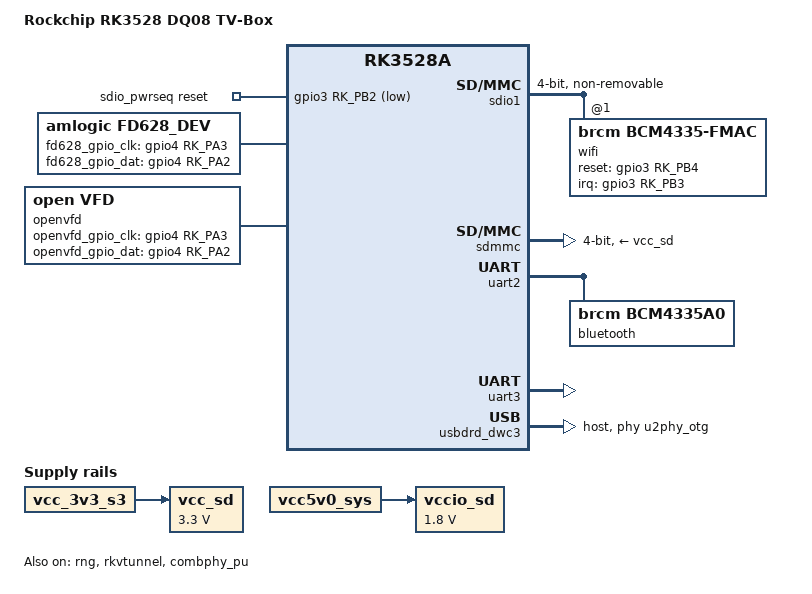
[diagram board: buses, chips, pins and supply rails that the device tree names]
// SPDX-License-Identifier: (GPL-2.0+ OR MIT)
/*
 */

/dts-v1/;

#include "rk3528-demo.dtsi"
#include "rk3528-linux.dtsi"

/ {
    model = "Rockchip RK3528 DQ08 TV-Box";
    compatible = "rockchip,rk3528-box", "rockchip,rk3528a";
    
    /delete-node/ bt-sco;
    /delete-node/ bt-sound;
    /delete-node/ gpio-leds;
    /delete-node/ spdif-sound;
    
    vcc_sd: vcc-sd {
        compatible = "regulator-fixed";
        regulator-always-on;
        regulator-name = "vcc_sd";
        regulator-min-microvolt = <3300000>;
        regulator-max-microvolt = <3300000>;
        vin-supply = <&vcc_3v3_s3>;
    };

    vccio_sd: vccio-sd {
        compatible = "regulator-gpio";
        regulator-always-on;
        regulator-name = "vccio_sd";
        regulator-min-microvolt = <1800000>;
        regulator-max-microvolt = <1800000>;
        vin-supply = <&vcc5v0_sys>;
    };

    sdio_pwrseq: sdio-pwrseq {
        compatible = "mmc-pwrseq-simple";
        pinctrl-names = "default";
        pinctrl-0 = <&wifi_enable  &clkm0_32k_out>;
        reset-gpios = <&gpio3 RK_PB4 GPIO_ACTIVE_LOW>;
    };

     // front led panel
    fd628_dev: fd628-dev {
        compatible = "amlogic, fd628_dev";
        fd628_gpio_clk = <&gpio4 RK_PA3 GPIO_ACTIVE_HIGH>;
        fd628_gpio_dat = <&gpio4 RK_PA2 GPIO_ACTIVE_HIGH>;
        status = "okay";
    };

   openvfd {
        status = "okay";
        compatible = "open,vfd";
        dev_name = "openvfd";
        openvfd_gpio_clk = <&gpio4 RK_PA3 GPIO_ACTIVE_HIGH>;
        openvfd_gpio_dat = <&gpio4 RK_PA2 GPIO_ACTIVE_HIGH>;
        openvfd_display_type = <0x03000100>;
        openvfd_dot_bits = [00 01 03 02 04 05 06];
   };

    sdio_pwrseq: sdio-pwrseq {
        compatible = "mmc-pwrseq-simple";
        pinctrl-names = "default";
        pinctrl-0 = <&wifi_wake &clkm0_32k_out>;
        reset-gpios = <&gpio3 RK_PB2 GPIO_ACTIVE_LOW>;
        post-power-on-delay-ms = <100>;
    };
};

&pinctrl {
    bcm4335 {
        wifi_enable: wifi-enable {
            rockchip,pins = <3 RK_PB2 RK_FUNC_GPIO &pcfg_output_high>;
        };

        wifi_wake: wifi-wake {
            rockchip,pins = <3 RK_PB3 RK_FUNC_GPIO &pcfg_pull_down>;
        };

        wifi_reset: wifi-reset {
            rockchip,pins = <3 RK_PB4 RK_FUNC_GPIO &pcfg_output_high>;
        };

        uart2m0_gpios: uart2m0-gpios {
            rockchip,pins = <3 RK_PA2 RK_FUNC_GPIO &pcfg_pull_none>;
        };
    };
};

&vdd_cpu {
    regulator-max-microvolt = <1101000>;
};

&cpu0_opp_table {
    // disable pvtm, i dont respect the device much...
    /delete-property/ rockchip,pvtm-voltage-sel;
};

&hdmi {
    pinctrl-1 = <&hdmi_pins>;
    pinctrl-names = "default", "sleep";
    cec-enable;
};

&sdhci {
    cap-mmc-highspeed;
    disable-wp;
    fifo-depth = <256>;
    max-frequency = <150000000>;
    mmc-hs200-1_8v;
};

&sdio1 {
    mmc-pwrseq = <&sdio_pwrseq>;
    pinctrl-0 = <&sdio1_bus4 &sdio1_cmd &sdio1_clk>;
    pinctrl-names = "default";
    status = "okay";
    bus-width = <4>;
    post-power-on-delay-ms = <100>;
    max-frequency = <208000000>;
    fifo-depth = <4096>;
    keep-power-in-suspend;
    cap-sd-highspeed;
    cap-sdio-irq;
    disable-wp;
    no-mmc;
    no-sd;
    non-removable;
    sd-uhs-ddr50;
    sd-uhs-sdr12;
    sd-uhs-sdr25;
    sd-uhs-sdr50;
    sd-uhs-sdr104;
    supports-sdio;
    #address-cells = <1>;
    #size-cells = <0>;
    
    wifi@1 {
        compatible = "brcm,bcm4335-fmac";
        reg = <1>;
        interrupt-parent = <&gpio3>;
        interrupts = <RK_PB3 IRQ_TYPE_LEVEL_HIGH>;
        interrupt-names = "host-wake";
        reset-gpios = <&gpio3 RK_PB4 GPIO_ACTIVE_HIGH>;
        pinctrl-0 = <&wifi_wake &wifi_reset>;
        status = "okay";
   };
};

&sdmmc {
    vmmc-supply = <&vcc_sd>;
    pinctrl-0 = <&sdmmc_clk &sdmmc_cmd &sdmmc_det &sdmmc_bus4>;
    pinctrl-names = "default";
    status = "okay";
    bus-width = <4>;
    card-detect-delay = <500>;
    num-slots = <1>;
    cap-mmc-highspeed;
    cap-sd-highspeed;
    disable-wp;
    supports-sd;
};

&spdif_out {
    status = "disabled";
};

&rng {
    status = "okay";
};

&rkvtunnel {
    status = "okay";
};

&uart2 {
    status = "okay";
    dma-names = "!tx", "!rx";
    pinctrl-0 = <&uart2m0_xfer &uart2m0_ctsn>;
    pinctrl-names = "default";

    bluetooth {
        compatible = "brcm,bcm4335a0";
    };
};

&uart3 {
    status = "okay";
    dma-names = "!tx", "!rx";
    pinctrl-0 = <&uart3m1_xfer>;
    pinctrl-names = "default";
};

&spdif_8ch {
    status = "disabled";
};

&combphy_pu {
    status = "okay";
};

&usbdrd_dwc3 {
    dr_mode = "host";
    phy-names = "usb2-phy", "usb3-phy";
    phys = <&u2phy_otg &combphy_pu 4>;
    snps,xhci-trb-ent-quirk;
};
